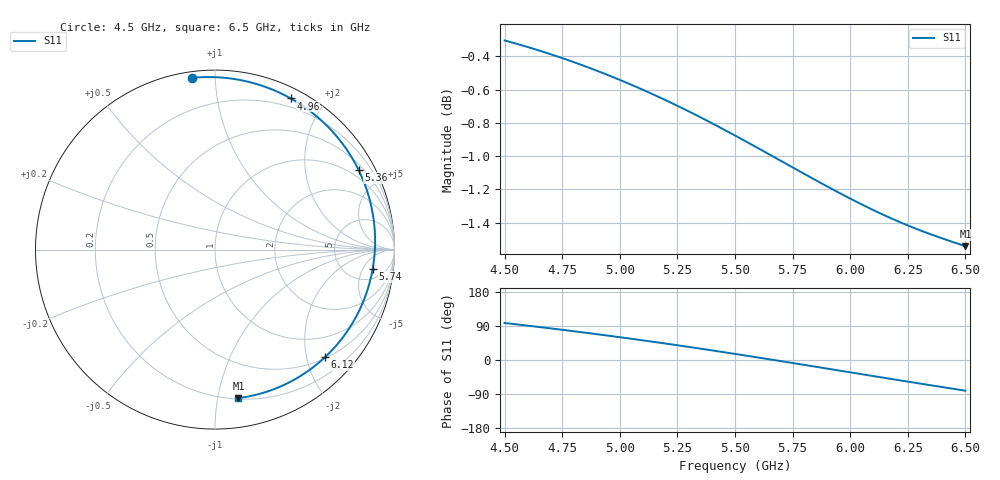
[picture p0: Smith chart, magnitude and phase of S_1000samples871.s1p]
! TOUCHSTONE file generated by CST MICROWAVE STUDIO
! Date and time: Sat Oct 29 15:59:09 2022
! Project name: L.cst
! Parameters = {Di=1.27; Epsilon_r=1.56; InnerDiameter=1.27; Length=2; Lf=10; Lg=60; OuterConductorThickness=0.2921; OuterDiameter=3.6; Wf=3; Wp=41.2; de=1.5; df=6.8; g=0.8; gx=4.21208; gy=4.55623; h=2.34; hf=1.524; px=10.2535; py=12.9655; w=9.7; wx=6.04138; wy=8.4093}
! Header version: 2018
! Port assignment regex: !\s*Touchstone port\s*([0-9]+)\s*=\s*(CST MWS port|CST DS port)\s*([0-9]+|Zmin|Zmax)\s*\(\"(.*)\"\)(\s*mode\s*([0-9]+))?.*
! Touchstone port assignment:
! Touchstone port 1 = CST MWS port 1 ("")
# GHz S DB R 50
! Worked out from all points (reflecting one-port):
!   101 points, 4.5 GHz to 6.5 GHz, reference 50 ohm
!   lowest |S11| = -1.5 dB at 6.5 GHz (marker M1), VSWR 11.31, Z = 10.4 - j57.4 ohm
!   phase of S11 starts at 98 deg and turns -179 deg over the sweep
!   S11 on the Smith chart (normalised r, x): 4.5 GHz: 0.03, +0.87; 4.96 GHz: 0.11, +1.61; 5.36 GHz: 0.69, +3.74; 5.74 GHz: 8, -8; 6.12 GHz: 0.52, -2.36; 6.5 GHz: 0.21, -1.15
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4.5  -0.30 97.7
4.64  -0.36 87.8
4.76  -0.42 78.9
4.86  -0.47 71.3
4.96  -0.52 63.4
5  -0.54 60.1
5.12  -0.61 50.2
5.18  -0.65 45.0
5.26  -0.70 38.0
5.36  -0.77 29.0
5.44  -0.83 21.7
5.5  -0.88 16.1
5.56  -0.92 10.4
5.62  -0.97 4.7
5.68  -1.01 -1.1
5.74  -1.06 -7.0
5.76  -1.08 -8.9
5.82  -1.12 -14.8
5.88  -1.17 -20.7
5.94  -1.21 -26.6
6  -1.25 -32.5
6.12  -1.34 -44.3
6.2  -1.39 -52.2
6.26  -1.42 -58.0
6.32  -1.45 -63.8
6.38  -1.48 -69.6
6.44  -1.51 -75.3
6.5  -1.54 -81.0
